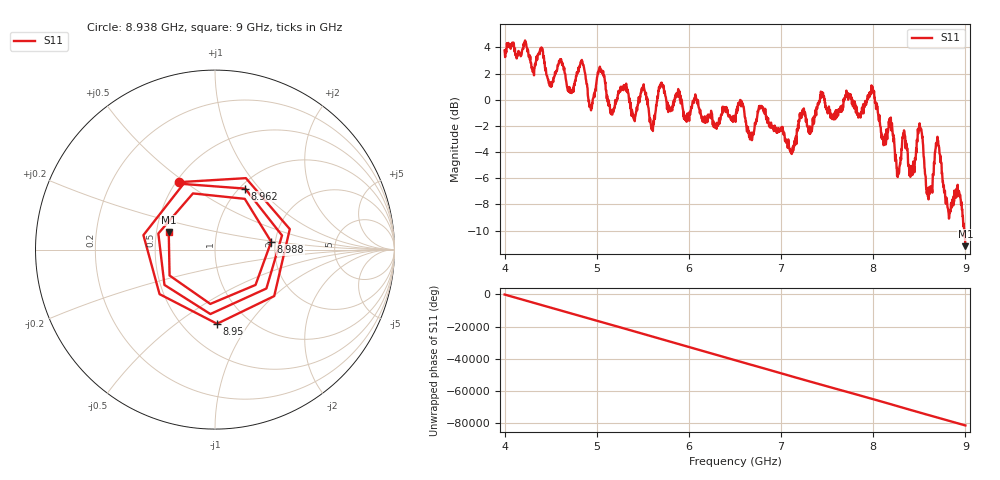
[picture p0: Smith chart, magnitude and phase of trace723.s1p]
! Created with skrf 1.8.0 (http://scikit-rf.org).
# Hz S RI R 50.0
!freq ReS11 ImS11
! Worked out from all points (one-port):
!   1601 points, 4 GHz to 9 GHz, reference 50 ohm
!   lowest |S11| = -11.2 dB at 9 GHz (marker M1), VSWR 1.76, Z = 29 + j6.15 ohm
!   |S11| at or under -10 dB: 8.987932 GHz to end of sweep
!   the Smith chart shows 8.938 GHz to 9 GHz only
!   S11 on the Smith chart (normalised r, x): 8.938 GHz: 0.51, +0.47; 8.95 GHz: 0.72, -0.72; 8.962 GHz: 1.06, +0.84; 8.988 GHz: 1.90, +0.18; 9 GHz: 0.58, +0.12
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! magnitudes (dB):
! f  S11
! 4 GHz  3.8
! 4.625 GHz  2.7
! 4.716 GHz  0.7
! 4.844 GHz  2.9
! 4.931 GHz  -0.6
! 5.034 GHz  2.5
! 5.159 GHz  -0.8
! 5.25 GHz  0.8
! 5.509 GHz  1.2
! 5.6 GHz  -2.1
! 5.694 GHz  1.1
! 5.875 GHz  0.2
! 6.5 GHz  -1.4
! 7.125 GHz  -3.8
! 7.228 GHz  -1.0
! 7.75 GHz  0.4
! 7.991 GHz  1.0
! 8.262 GHz  -5.5
! 8.375 GHz  -4.2
! 8.509 GHz  -2.3
! 8.597 GHz  -6.8
! 8.694 GHz  -3.1
! 8.812 GHz  -8.3
! 8.938 GHz  -7.4
! 8.95 GHz  -7.7
! 8.962 GHz  -8.4
! 8.988 GHz  -10.0
! 9 GHz  -11.2
